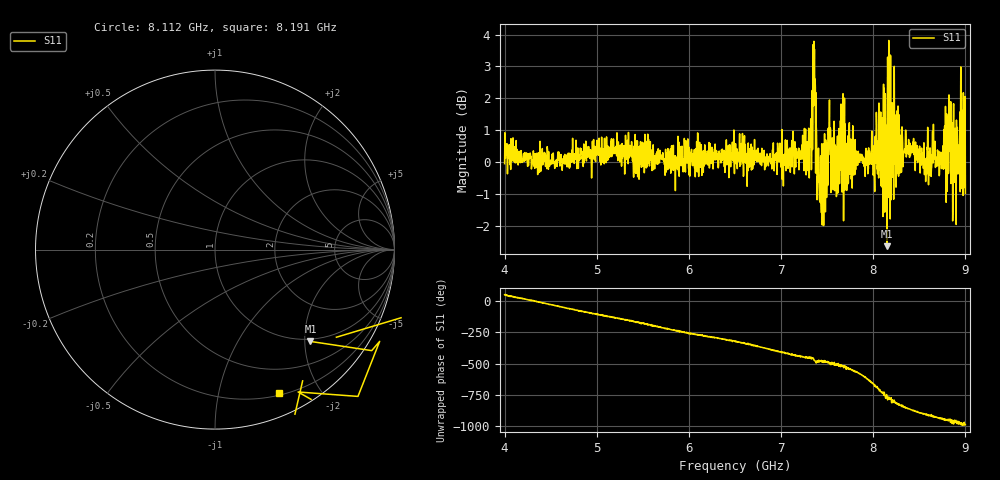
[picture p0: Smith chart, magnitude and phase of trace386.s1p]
! Created with skrf 1.8.0 (http://scikit-rf.org).
# Hz S RI R 50.0
!freq ReS11 ImS11
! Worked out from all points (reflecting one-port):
!   1601 points, 4 GHz to 9 GHz, reference 50 ohm
!   lowest |S11| = -2.6 dB at 8.15 GHz (marker M1), VSWR 6.63, Z = 47.4 - j106 ohm
!   phase of S11 starts at 53 deg and turns -1044 deg over the sweep
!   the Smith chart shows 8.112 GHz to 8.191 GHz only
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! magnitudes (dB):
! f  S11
! 4 GHz  -0.1
! 4.625 GHz  -0.3
! 5.25 GHz  0.0
! 5.875 GHz  -0.2
! 6.5 GHz  0.5
! 7.125 GHz  0.3
! 7.294 GHz  0.0
! 7.316 GHz  0.5
! 7.359 GHz  2.7
! 7.381 GHz  1.1
! 7.4 GHz  -0.4
! 7.438 GHz  -1.6
! 7.538 GHz  1.0
! 7.578 GHz  0.2
! 7.65 GHz  1.8
! 7.75 GHz  0.0
! 7.994 GHz  0.2
! 8.15 GHz  -2.6
! 8.178 GHz  3.4
! 8.197 GHz  0.5
! 8.203 GHz  1.9
! 8.375 GHz  0.4
! 8.556 GHz  -0.4
! 8.738 GHz  0.2
! 8.822 GHz  2.1
! 8.875 GHz  -0.3
! 8.972 GHz  0.3
! 9 GHz  -1.0
